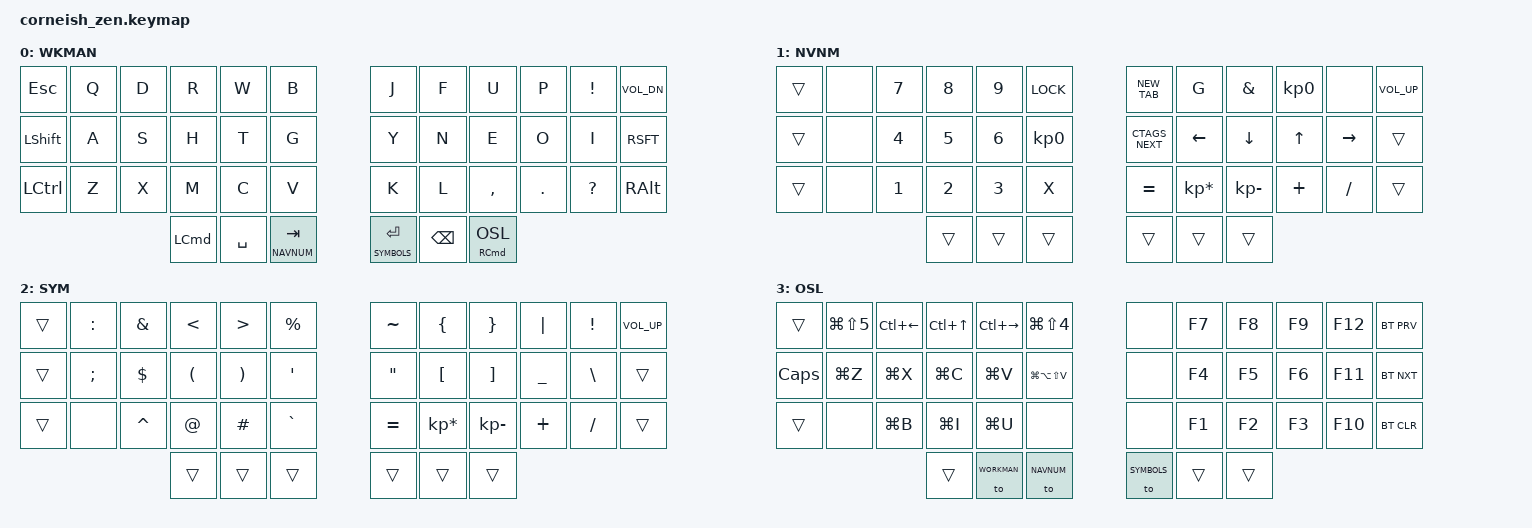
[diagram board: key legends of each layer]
#include <behaviors.dtsi>
#include <dt-bindings/zmk/keys.h>
#include <dt-bindings/zmk/bt.h>

#define WORKMAN 0
#define NAVNUM  1
#define SYMBOLS 2
#define OSL     3

/ {
  chosen {
    zmk,matrix_transform = &default_transform;
    //zmk,matrix_transform = &five_column_transform;
  };
};

/ {
    behaviors {
            HTSL: holdtap_stickylayer {
                compatible = "zmk,behavior-hold-tap";
                label = "HTSL";
                #binding-cells = <2>;
                tapping-term-ms = <200>;
                quick-tap-ms = <0>;
                flavor = "hold-preferred";
                bindings = <&kp>, <&sl>;
            };
        };
    macros {
        LOCK: LOCK {
            label = "LOCK";
            compatible = "zmk,behavior-macro";
            #binding-cells = <0>;
            bindings
                = <&macro_press   &kp LCMD>
                , <&macro_press   &kp LCTRL>
                , <&macro_tap     &kp Q>
                , <&macro_release &kp LCTRL>
                , <&macro_release &kp LCMD>
                ;
        };
        NEW_TAB: NEW_TAB {
            label = "NEW_TAB";
            compatible = "zmk,behavior-macro";
            #binding-cells = <0>;
            bindings
                = <&macro_press   &kp LCMD>
                , <&macro_tap     &kp T>
                , <&macro_release &kp LCMD>
                ;
        };
        CTAGS_NEXT: CTAGS_NEXT {
            label = "CTAGS_NEXT";
            compatible = "zmk,behavior-macro";
            #binding-cells = <0>;
            bindings
                = <&macro_press   &kp LCTRL>
                , <&macro_tap     &kp LBKT>
                , <&macro_release &kp LCTRL>
                ;
        };
    };
	keymap {
        compatible = "zmk,keymap";

        default_layer {
            label = "WKMAN";
            bindings = <
   &kp ESC   &kp Q &kp D &kp R &kp W &kp B                      &kp J  &kp F  &kp U    &kp P    &kp EXCL   &kp C_VOL_DN
   &kp LSHFT &kp A &kp S &kp H &kp T &kp G                      &kp Y  &kp N  &kp E    &kp O    &kp I      &kp RSFT
   &kp LCTRL &kp Z &kp X &kp M &kp C &kp V                      &kp K  &kp L  &kp CMMA &kp DOT  &kp QMARK  &kp RALT
          &kp LCMD  &kp SPC  &lt NAVNUM TAB                     &lt SYMBOLS ENTER      &kp BSPC &HTSL RCMD OSL
                        >;
                };

        navnum_layer {
            label = "NVNM";
            bindings = <
   &trans  &none &kp N7 &kp N8 &kp N9 &LOCK                &NEW_TAB    &kp G           &kp AMPS     &kp KP_N0  &none     &kp C_VOL_UP
   &trans  &none &kp N4 &kp N5 &kp N6 &kp KP_N0            &CTAGS_NEXT &kp LEFT        &kp DOWN     &kp UP     &kp RIGHT &trans
   &trans  &none &kp N1 &kp N2 &kp N3 &kp X                &kp EQUAL   &kp KP_ASTERISK &kp KP_MINUS &kp PLUS   &kp SLASH &trans
                        &trans &trans &trans               &trans &trans &trans
                        >;
                };

    	symbols_layer {
            label = "SYM";
            bindings = < 
   &trans     &kp COLON &kp AMPS   &kp LT   &kp GT   &kp PRCNT     &kp TILDE  &kp LBRC        &kp RBRC     &kp PIPE  &kp EXCL  &kp C_VOL_UP
   &trans     &kp SEMI  &kp DOLLAR &kp LPAR &kp RPAR &kp SQT       &kp DQT    &kp LBKT        &kp RBKT     &kp UNDER &kp BSLH  &trans
   &trans     &none     &kp CARET  &kp AT   &kp HASH &kp GRAVE     &kp EQUAL  &kp KP_ASTERISK &kp KP_MINUS &kp PLUS  &kp SLASH &trans
                                   &trans   &trans   &trans        &trans  &trans  &trans
                        >;
                };
     	osl_layer {
            label = "OSL";
            bindings = < 
   &trans   &kp LG(LS(N5))  &kp LC(LEFT)    &kp LC(UP)  &kp LC(RIGHT)   &kp LG(LS(N4))      &none   &kp F7  &kp F8  &kp F9  &kp F12 &bt BT_PRV
   &kp CAPS &kp LG(Z)       &kp LG(X)       &kp LG(C)   &kp LG(V)       &kp LG(LA(LS(V)))   &none   &kp F4  &kp F5  &kp F6  &kp F11 &bt BT_NXT
   &trans   &none           &kp LG(B)       &kp LG(I)   &kp LG(U)       &none               &none   &kp F1  &kp F2  &kp F3  &kp F10 &bt BT_CLR
                                            &trans      &to WORKMAN     &to NAVNUM          &to SYMBOLS  &trans  &trans
                    >;
                };

        };
};
